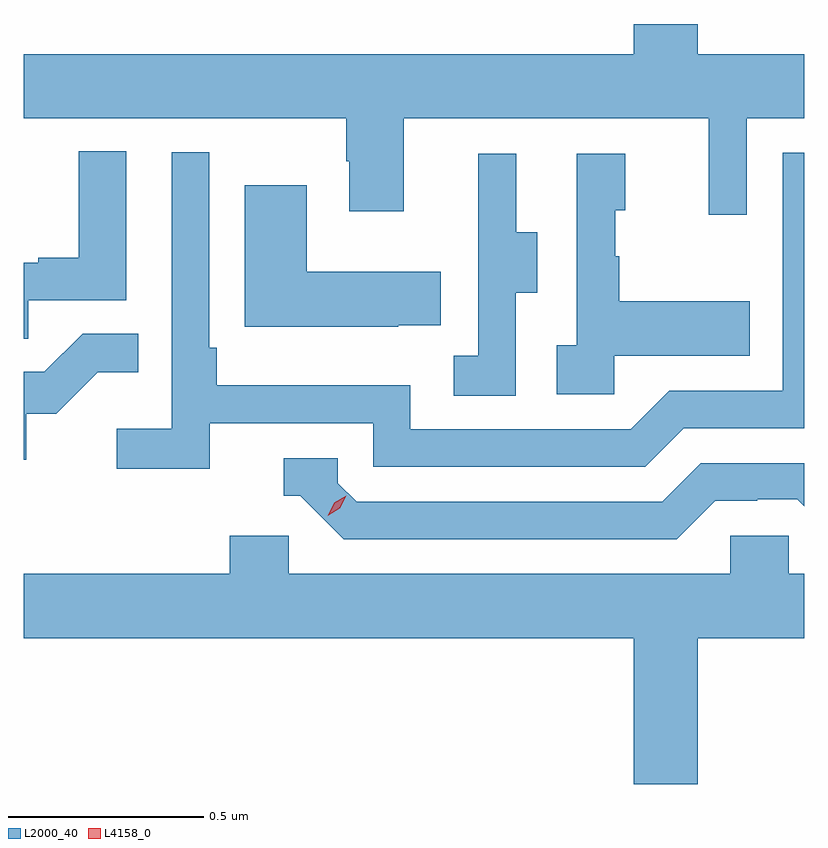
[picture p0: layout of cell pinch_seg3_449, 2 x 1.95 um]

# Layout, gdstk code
import gdstk
lib = gdstk.Library(unit=1e-6, precision=1e-09)
def P(c, l, *ps):  # polygons
    for p in ps: c.add(gdstk.Polygon(p, *l))
L2000_40 = (2000, 40)
L4158_0 = (4158, 0)

pinch_seg3_449 = lib.new_cell('pinch_seg3_449')
P(pinch_seg3_449, L2000_40, [(944.517,672.944),(944.665,672.944),(944.665,673.108),(944.392,673.108),(944.392,673.185),(944.228,673.185),(944.228,673.108),(942.665,673.108),(942.665,672.944),(943.492,672.944),(943.492,672.833),(943.499,672.833),(943.499,672.705),(943.639,672.705),(943.639,672.944),(944.42,672.944),(944.42,672.696),(944.517,672.696)],
  [(942.677,672.477),(942.928,672.477),(942.928,672.859),(942.806,672.859),(942.806,672.586),(942.703,672.586),(942.703,672.573),(942.665,672.573),(942.665,672.379),(942.677,672.379)],
  [(943.142,672.162),(943.56,672.162),(943.56,672.051),(944.257,672.051),(944.356,672.15),(944.665,672.15),(944.665,672.855),(944.61,672.855),(944.61,672.246),(944.319,672.246),(944.22,672.147),(943.656,672.147),(943.656,672.259),(943.16,672.259),(943.16,672.355),(943.14,672.355),(943.14,672.856),(943.044,672.856),(943.044,672.148),(942.903,672.148),(942.903,672.046),(943.142,672.046)],
  [(944.178,672.335),(944.525,672.335),(944.525,672.475),(944.191,672.475),(944.191,672.59),(944.181,672.59),(944.181,672.708),(944.206,672.708),(944.206,672.853),(944.082,672.853),(944.082,672.362),(944.031,672.362),(944.031,672.237),(944.178,672.237)],
  [(943.926,672.496),(943.981,672.496),(943.981,672.651),(943.927,672.651),(943.927,672.853),(943.829,672.853),(943.829,672.639),(943.83,672.639),(943.83,672.335),(943.767,672.335),(943.767,672.232),(943.926,672.232)],
  [(943.625,672.413),(943.733,672.413),(943.733,672.55),(943.39,672.55),(943.39,672.772),(943.232,672.772),(943.232,672.41),(943.625,672.41)],
  [(942.672,672.186),(942.748,672.186),(942.855,672.293),(942.959,672.293),(942.959,672.392),(942.816,672.392),(942.718,672.294),(942.665,672.294),(942.665,672.069),(942.672,672.069)],
  [(944.437,671.964),(944.544,671.964),(944.544,671.967),(944.647,671.967),(944.665,671.949),(944.665,672.06),(944.4,672.06),(944.301,671.961),(943.518,671.961),(943.47,672.009),(943.47,672.072),(943.331,672.072),(943.331,671.976),(943.374,671.976),(943.485,671.865),(944.338,671.865)],
  [(944.392,671.612),(944.665,671.612),(944.665,671.776),(944.625,671.776),(944.625,671.874),(944.475,671.874),(944.475,671.776),(943.344,671.776),(943.344,671.874),(943.193,671.874),(943.193,671.776),(942.665,671.776),(942.665,671.612),(944.228,671.612),(944.228,671.238),(944.392,671.238)])
P(pinch_seg3_449, L4158_0, [(943.444,671.925),(943.444,671.925),(943.461,671.958),(943.492,671.977),(943.492,671.977),(943.492,671.977),(943.475,671.944),(943.444,671.925)])

lib.write_gds('pinch_seg3_449.gds')
